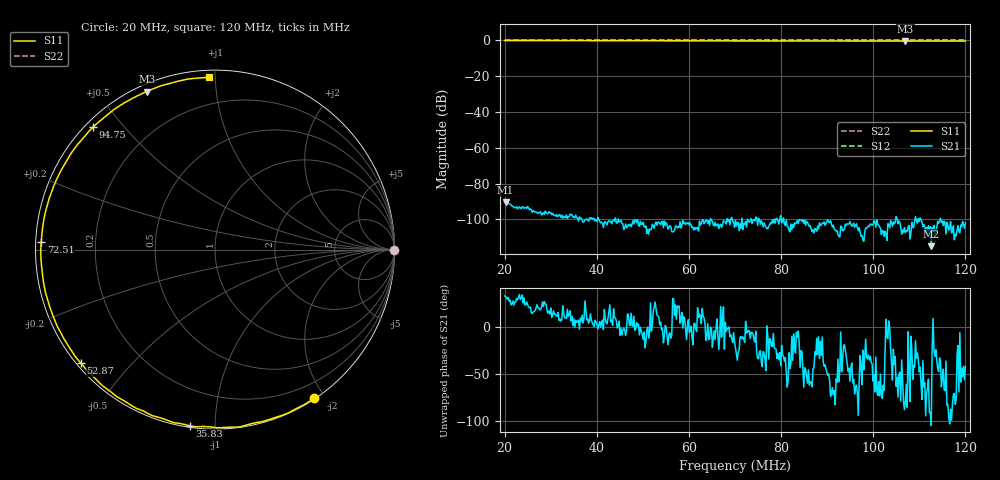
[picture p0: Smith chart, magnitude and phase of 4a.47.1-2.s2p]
! Anritsu VNA Master:  Model: MS2036C/10/77
! SN:  1601066
! /bd0/18may26.balun/4a.47.s2p
! Existing Calibration Information:
! TYPE:  Current Settings,  Active Cal Settings
! TIME:  05/26/2018 03:00:03 PM,  05/26/2018 02:51:55 PM
! INTERNAL TEMP:  59.5 C,  59.5 C
! # POINTS:  500,  500
! START FREQ:  20.000 MHz,  20.000 MHz
! STOP FREQ:  120.000 MHz,  120.000 MHz
! SOURCE POWER:  High,  High
! IFBW:  50 Hz,  50 Hz
! AVG FACTOR:  1 ,  1
! REF PLANE 1:  0 mm,  0 mm
! REF PLANE 2:  0 mm,  0 mm
! CAL TYPE:  Full S11,  Full S11
! CAL METHOD:  SOLT,  SOLT
! CAL LINE TYPE:  Coax,  Coax
! DUT PORT 1:  K-Conn(M),  K-Conn(M)
! DUT PORT 2:  K-Conn(M),  K-Conn(M)
! CAL STATUS:  OK: Accuracy High,  --
# GHZ S DB R 50.0
! FREQ.GHZ  S11DB  S11A  S21DB  S21A  S12DB  S12A  S22DB  S22A
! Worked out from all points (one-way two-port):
!   500 points, 20 MHz to 120 MHz, reference 50 ohm
!   highest |S21| = -90.38 dB at 20.2 MHz (marker M1); lowest = -114.9 dB at 112.6 MHz (marker M2)
!   lowest |S11| = -0.4 dB at 107 MHz (marker M3), VSWR 47.32, Z = 1.51 + j32.8 ohm
!   |S11| at or under -10 dB: nowhere
!   |S22| runs from 0.0 to 0.0 dB; largest |S21 - S12| = 1
!   S11 on the Smith chart (normalised r, x): 20 MHz: 0.01, -1.87; 35.83 MHz: 0.01, -0.87; 52.87 MHz: 0.01, -0.37; 72.51 MHz: 0.02, +0.02; 94.75 MHz: 0.02, +0.42; 120 MHz: 0.04, +0.97
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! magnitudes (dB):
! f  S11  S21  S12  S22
! 20 MHz  0.0  -90.5  0.0  0.0
! 20.2 MHz  0.0  -90.4  0.0  0.0
! 23.81 MHz  0.0  -93.0  0.0  0.0
! 27.82 MHz  -0.1  -95.7  0.0  0.0
! 29.82 MHz  0.0  -96.2  0.0  0.0
! 33.83 MHz  -0.1  -98.4  0.0  0.0
! 35.83 MHz  -0.1  -99.2  0.0  0.0
! 36.83 MHz  -0.1  -100.5  0.0  0.0
! 37.84 MHz  -0.1  -99.8  0.0  0.0
! 39.44 MHz  -0.1  -99.6  0.0  0.0
! 40.84 MHz  -0.1  -101.9  0.0  0.0
! 42.04 MHz  -0.1  -102.1  0.0  0.0
! 52.87 MHz  -0.2  -101.4  0.0  0.0
! 53.47 MHz  -0.2  -101.4  0.0  0.0
! 70.1 MHz  -0.3  -100.4  0.0  0.0
! 72.51 MHz  -0.3  -104.2  0.0  0.0
! 86.73 MHz  -0.3  -106.9  0.0  0.0
! 94.75 MHz  -0.3  -102.6  0.0  0.0
! 103.4 MHz  -0.4  -102.8  0.0  0.0
! 107 MHz  -0.4  -107.3  0.0  0.0
! 112.6 MHz  -0.4  -114.9  0.0  0.0
! 120 MHz  -0.3  -102.0  0.0  0.0
